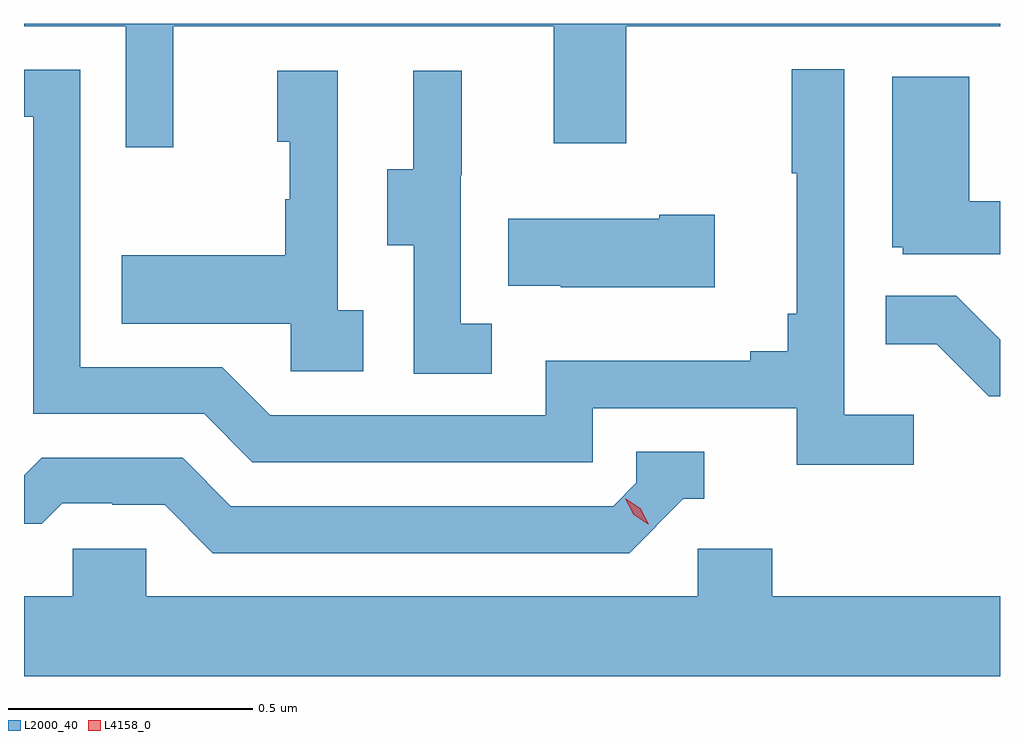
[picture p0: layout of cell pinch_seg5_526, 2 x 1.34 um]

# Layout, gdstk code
import gdstk
lib = gdstk.Library(unit=1e-6, precision=1e-09)
def P(c, l, *ps):  # polygons
    for p in ps: c.add(gdstk.Polygon(p, *l))
L2000_40 = (2000, 40)
L4158_0 = (4158, 0)

pinch_seg5_526 = lib.new_cell('pinch_seg5_526')
P(pinch_seg5_526, L2000_40, [(888.257,835.448),(889.037,835.448),(889.037,835.209),(889.185,835.209),(889.185,835.448),(889.951,835.448),(889.951,835.454),(887.951,835.454),(887.951,835.448),(888.159,835.448),(888.159,835.2),(888.257,835.2)],
  [(889.774,834.652),(889.632,834.652),(889.632,835.36),(889.524,835.36),(889.524,835.147),(889.535,835.147),(889.535,834.859),(889.516,834.859),(889.516,834.782),(889.439,834.782),(889.439,834.763),(889.02,834.763),(889.02,834.651),(888.456,834.651),(888.357,834.75),(888.066,834.75),(888.066,835.359),(887.951,835.359),(887.951,835.263),(887.97,835.263),(887.97,834.654),(888.32,834.654),(888.419,834.555),(889.116,834.555),(889.116,834.666),(889.535,834.666),(889.535,834.55),(889.774,834.55)],
  [(888.646,834.866),(888.594,834.866),(888.594,835.357),(888.47,835.357),(888.47,835.212),(888.496,835.212),(888.496,835.094),(888.486,835.094),(888.486,834.979),(888.151,834.979),(888.151,834.839),(888.498,834.839),(888.498,834.741),(888.646,834.741)],
  [(888.91,834.839),(888.846,834.839),(888.846,835.143),(888.848,835.143),(888.848,835.357),(888.749,835.357),(888.749,835.155),(888.695,835.155),(888.695,835),(888.75,835),(888.75,834.736),(888.91,834.736)],
  [(889.951,835.09),(889.888,835.09),(889.888,835.345),(889.73,835.345),(889.73,834.996),(889.752,834.996),(889.752,834.981),(889.951,834.981)],
  [(889.366,835.062),(889.253,835.062),(889.253,835.054),(888.943,835.054),(888.943,834.917),(889.051,834.917),(889.051,834.914),(889.366,834.914)],
  [(889.951,834.806),(889.861,834.896),(889.717,834.896),(889.717,834.797),(889.821,834.797),(889.928,834.69),(889.951,834.69)],
  [(889.302,834.48),(889.345,834.48),(889.345,834.576),(889.206,834.576),(889.206,834.513),(889.158,834.465),(888.375,834.465),(888.276,834.564),(887.987,834.564),(887.951,834.528),(887.951,834.429),(887.987,834.429),(888.029,834.471),(888.132,834.471),(888.132,834.468),(888.239,834.468),(888.338,834.369),(889.191,834.369)],
  [(889.951,834.28),(889.484,834.28),(889.484,834.378),(889.332,834.378),(889.332,834.28),(888.201,834.28),(888.201,834.378),(888.051,834.378),(888.051,834.28),(887.951,834.28),(887.951,834.116),(889.951,834.116)])
P(pinch_seg5_526, L4158_0, [(889.23,834.428),(889.2,834.447),(889.183,834.48),(889.183,834.48),(889.184,834.48),(889.214,834.461),(889.231,834.428),(889.231,834.428)])

lib.write_gds('pinch_seg5_526.gds')
